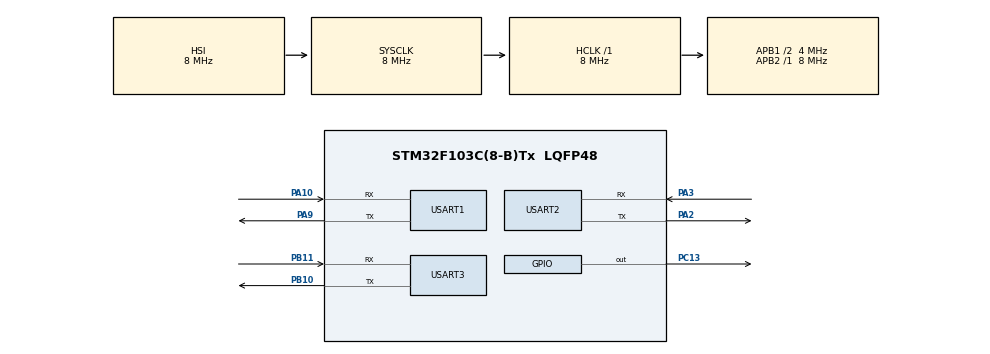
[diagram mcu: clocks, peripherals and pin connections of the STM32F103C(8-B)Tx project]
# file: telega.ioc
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Mcu.Family=STM32F1
Mcu.Name=STM32F103C(8-B)Tx
Mcu.Package=LQFP48
NVIC.PriorityGroup=NVIC_PRIORITYGROUP_4
NVIC.USART1_IRQn=true\:0\:0\:false\:false\:true\:true\:true
NVIC.USART2_IRQn=true\:0\:0\:false\:false\:true\:true\:true
NVIC.USART3_IRQn=true\:0\:0\:false\:false\:true\:true\:true
PA10.Mode=Asynchronous
PA10.Signal=USART1_RX
PA13.Mode=Serial_Wire
PA13.Signal=SYS_JTMS-SWDIO
PA14.Mode=Serial_Wire
PA14.Signal=SYS_JTCK-SWCLK
PA2.Mode=Asynchronous
PA2.Signal=USART2_TX
PA3.Mode=Asynchronous
PA3.Signal=USART2_RX
PA9.Mode=Asynchronous
PA9.Signal=USART1_TX
PB10.Mode=Asynchronous
PB10.Signal=USART3_TX
PB11.Mode=Asynchronous
PB11.Signal=USART3_RX
PC13-TAMPER-RTC.Signal=GPIO_Output
PD0-OSC_IN.Mode=HSE-External-Oscillator
PD0-OSC_IN.Signal=RCC_OSC_IN
PD1-OSC_OUT.Mode=HSE-External-Oscillator
PD1-OSC_OUT.Signal=RCC_OSC_OUT
ProjectManager.HeapSize=0x200
ProjectManager.StackSize=0x400
ProjectManager.TargetToolchain=MDK-ARM V5
RCC.AHBFreq_Value=8000000
RCC.APB1CLKDivider=RCC_HCLK_DIV2
RCC.APB1Freq_Value=4000000
RCC.APB1TimFreq_Value=8000000
RCC.APB2Freq_Value=8000000
RCC.APB2TimFreq_Value=8000000
RCC.HCLKFreq_Value=8000000
RCC.PLLMUL=RCC_PLL_MUL9
RCC.PLLSourceVirtual=RCC_PLLSOURCE_HSE
RCC.SYSCLKFreq_VALUE=8000000
RCC.USBFreq_Value=72000000
USART1.VirtualMode=VM_ASYNC
USART2.VirtualMode=VM_ASYNC
USART3.VirtualMode=VM_ASYNC
board=custom

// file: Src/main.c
/* USER CODE BEGIN Header */
/**
  ******************************************************************************
  * @file           : main.c
  * @brief          : Main program body
  ******************************************************************************
  * @attention
  *
  * <h2><center>&copy; Copyright (c) 2020 STMicroelectronics.
  * All rights reserved.</center></h2>
  *
  * This software component is licensed by ST under BSD 3-Clause license,
  * the "License"; You may not use this file except in compliance with the
  * License. You may obtain a copy of the License at:
  *                        opensource.org/licenses/BSD-3-Clause
  *
  ******************************************************************************
  */
/* USER CODE END Header */

#include "main.h"

/* USER CODE BEGIN Includes */

#include "cobs.h"
#include <string.h>

/* USER CODE END Includes */

UART_HandleTypeDef huart1;
UART_HandleTypeDef huart2;
UART_HandleTypeDef huart3;

void SystemClock_Config(void);
static void MX_GPIO_Init(void);
static void MX_USART1_UART_Init(void);
static void MX_USART2_UART_Init(void);
static void MX_USART3_UART_Init(void);

/* USER CODE BEGIN 0 */
#define BUF_SIZE_UPLEVEL	11								// 9 databyte + 2 byte overhead
#define BUF_SIZE_DRV			6
#define BUF_SIZE_DRV_SEND	7

uint8_t buf_uplevel[BUF_SIZE_UPLEVEL];			// uint8_t code + float (angle_speed + linear_speed)
uint8_t buf_drv1[BUF_SIZE_DRV];							// float speed
uint8_t buf_drv2[BUF_SIZE_DRV];							// float speed
uint8_t buf_drv_send_1[BUF_SIZE_DRV_SEND];					// uint8_t code + float speed
uint8_t buf_drv_send_2[BUF_SIZE_DRV_SEND];					// uint8_t code + float speed
int uart_uplevel_ready, uart_drv1_ready, uart_drv2_ready;
int uart_uplevel_send, uart_drv_send;

uint8_t send_to_uplevel[8];
uint8_t send_to_uplevel_encoded[10];

float	pos_drv1, pos_drv2;
uint32_t count_recieve = 0;
uint32_t count_send = 0;
float	speed_l=0.0f;
float	speed_a=0.0f;
float speed_drv1 =0.0f;
float speed_drv2 =0.0f;
/* USER CODE END 0 */

int main(void)
{

  /* MCU Configuration--------------------------------------------------------*/

  /* Reset of all peripherals, Initializes the Flash interface and the Systick. */
  HAL_Init();

  /* Configure the system clock */
  SystemClock_Config();

  /* Initialize all configured peripherals */
  MX_GPIO_Init();
  MX_USART1_UART_Init();
  MX_USART2_UART_Init();
  MX_USART3_UART_Init();
  /* USER CODE BEGIN 2 */
	USART1->CR1 |= USART_CR1_RXNEIE;
	USART2->CR1 |= USART_CR1_RXNEIE;
	USART3->CR1 |= USART_CR1_RXNEIE;
  /* USER CODE END 2 */

  /* Infinite loop */
  /* USER CODE BEGIN WHILE */
	uint8_t buf_uplevel_decoded[BUF_SIZE_UPLEVEL - 2];
	uint8_t buf_drv_decoded_1[BUF_SIZE_DRV - 2];
	uint8_t buf_drv_send_decoded_1[BUF_SIZE_DRV_SEND - 2];
	uint8_t buf_drv_decoded_2[BUF_SIZE_DRV - 2];
	uint8_t buf_drv_send_decoded_2[BUF_SIZE_DRV_SEND - 2];
	uint8_t code;

	int DEBUG = 0;
	if (DEBUG)
	{

	}

	speed_l = 0.0f;
  while (1)
 {
	  if (DEBUG)
	  {

	  }
		if (uart_uplevel_ready == 1)
		{
			uart_uplevel_ready = 0;
			cobs_decode(buf_uplevel, BUF_SIZE_UPLEVEL, buf_uplevel_decoded);

			code = buf_uplevel_decoded[0];
			memcpy(&speed_l, buf_uplevel_decoded + sizeof(uint8_t), sizeof(float));
			memcpy(&speed_a, buf_uplevel_decoded + sizeof(uint8_t) + sizeof(float), sizeof(float));
			speed_drv1 = speed_l + speed_a/2;		// TODO add math model
			speed_drv2 = -speed_l + speed_a/2 ;

			if (speed_drv1 > 1.0) speed_drv1 = 1.0;
			if (speed_drv1 < -1.0) speed_drv1 = -1.0;
			if (speed_drv2 > 1.0) speed_drv2 = 1.0;
			if (speed_drv2 < -1.0) speed_drv2 = -1.0;

			uart_drv_send = 1;

			if (DEBUG)
			{
				count_recieve ++;
			}
		}

		if (uart_drv1_ready == 1)
		{
			cobs_decode(buf_drv1, BUF_SIZE_DRV, buf_drv_decoded_1);
			memcpy(&pos_drv1, buf_drv_decoded_1, sizeof(float));

			// TODO add math model
			//cobs_encode(buf_drv_decoded_1, sizeof(float), buf_drv1);
			//HAL_UART_Transmit(&huart1, buf_drv1, BUF_SIZE_DRV, 0x0FFF);
		}

		if (uart_drv2_ready == 1)
		{
			cobs_decode(buf_drv2, BUF_SIZE_DRV, buf_drv_decoded_2);
			memcpy(&pos_drv2, buf_drv_decoded_2, sizeof(float));
			pos_drv2 = -pos_drv2;

			//HAL_UART_Transmit(&huart1, buf_drv2, BUF_SIZE_DRV, 0x0FFF);
		}

		if (uart_drv2_ready && uart_drv2_ready) {

			memcpy(send_to_uplevel, &pos_drv1, 4);
			memcpy(send_to_uplevel+4, &pos_drv2, 4);
			cobs_encode(send_to_uplevel, 8, send_to_uplevel_encoded);
			send_to_uplevel[8] = 0;

			HAL_UART_Transmit_IT(&huart1, send_to_uplevel_encoded, 10);
			uart_drv1_ready = 0;
			uart_drv2_ready = 0;
		}

		if (uart_drv_send)
		{
			uart_drv_send = 0;

			buf_drv_send_decoded_1[0] = 'v';
			memcpy(buf_drv_send_decoded_1 + 1, &speed_drv1, sizeof(float));
			cobs_encode(buf_drv_send_decoded_1, BUF_SIZE_DRV_SEND - 2, buf_drv_send_1);
			//HAL_UART_Transmit(&huart2, buf_drv_send, BUF_SIZE_DRV_SEND, 0x0FFF);
			HAL_UART_Transmit_IT(&huart2, buf_drv_send_1, BUF_SIZE_DRV_SEND);

			buf_drv_send_decoded_2[0] = 'v';
			memcpy(buf_drv_send_decoded_2 + 1, &speed_drv2, sizeof(float));
			cobs_encode(buf_drv_send_decoded_2, BUF_SIZE_DRV_SEND - 2, buf_drv_send_2);
			//HAL_UART_Transmit(&huart3, buf_drv_send, BUF_SIZE_DRV_SEND, 0x0FFF);
			HAL_UART_Transmit_IT(&huart3, buf_drv_send_2, BUF_SIZE_DRV_SEND);
			count_send ++;
		}
    /* USER CODE END WHILE */

  }
}

void SystemClock_Config(void)
{
  RCC_OscInitTypeDef RCC_OscInitStruct = {0};
  RCC_ClkInitTypeDef RCC_ClkInitStruct = {0};

  /** Initializes the CPU, AHB and APB busses clocks
  */
  RCC_OscInitStruct.OscillatorType = RCC_OSCILLATORTYPE_HSI;
  RCC_OscInitStruct.HSIState = RCC_HSI_ON;
  RCC_OscInitStruct.HSICalibrationValue = RCC_HSICALIBRATION_DEFAULT;
  RCC_OscInitStruct.PLL.PLLState = RCC_PLL_NONE;
  if (HAL_RCC_OscConfig(&RCC_OscInitStruct) != HAL_OK)
  {
    Error_Handler();
  }
  /** Initializes the CPU, AHB and APB busses clocks
  */
  RCC_ClkInitStruct.ClockType = RCC_CLOCKTYPE_HCLK|RCC_CLOCKTYPE_SYSCLK
                              |RCC_CLOCKTYPE_PCLK1|RCC_CLOCKTYPE_PCLK2;
  RCC_ClkInitStruct.SYSCLKSource = RCC_SYSCLKSOURCE_HSI;
  RCC_ClkInitStruct.AHBCLKDivider = RCC_SYSCLK_DIV1;
  RCC_ClkInitStruct.APB1CLKDivider = RCC_HCLK_DIV2;
  RCC_ClkInitStruct.APB2CLKDivider = RCC_HCLK_DIV1;

  if (HAL_RCC_ClockConfig(&RCC_ClkInitStruct, FLASH_LATENCY_0) != HAL_OK)
  {
    Error_Handler();
  }
}

static void MX_USART1_UART_Init(void)
{

  huart1.Instance = USART1;
  huart1.Init.BaudRate = 115200;
  huart1.Init.WordLength = UART_WORDLENGTH_8B;
  huart1.Init.StopBits = UART_STOPBITS_1;
  huart1.Init.Parity = UART_PARITY_NONE;
  huart1.Init.Mode = UART_MODE_TX_RX;
  huart1.Init.HwFlowCtl = UART_HWCONTROL_NONE;
  huart1.Init.OverSampling = UART_OVERSAMPLING_16;
  if (HAL_UART_Init(&huart1) != HAL_OK)
  {
    Error_Handler();
  }

}

static void MX_USART2_UART_Init(void)
{

  huart2.Instance = USART2;
  huart2.Init.BaudRate = 115200;
  huart2.Init.WordLength = UART_WORDLENGTH_8B;
  huart2.Init.StopBits = UART_STOPBITS_1;
  huart2.Init.Parity = UART_PARITY_NONE;
  huart2.Init.Mode = UART_MODE_TX_RX;
  huart2.Init.HwFlowCtl = UART_HWCONTROL_NONE;
  huart2.Init.OverSampling = UART_OVERSAMPLING_16;
  if (HAL_UART_Init(&huart2) != HAL_OK)
  {
    Error_Handler();
  }

}

static void MX_USART3_UART_Init(void)
{

  huart3.Instance = USART3;
  huart3.Init.BaudRate = 115200;
  huart3.Init.WordLength = UART_WORDLENGTH_8B;
  huart3.Init.StopBits = UART_STOPBITS_1;
  huart3.Init.Parity = UART_PARITY_NONE;
  huart3.Init.Mode = UART_MODE_TX_RX;
  huart3.Init.HwFlowCtl = UART_HWCONTROL_NONE;
  huart3.Init.OverSampling = UART_OVERSAMPLING_16;
  if (HAL_UART_Init(&huart3) != HAL_OK)
  {
    Error_Handler();
  }

}

static void MX_GPIO_Init(void)
{
  GPIO_InitTypeDef GPIO_InitStruct = {0};

  /* GPIO Ports Clock Enable */
  __HAL_RCC_GPIOC_CLK_ENABLE();
  __HAL_RCC_GPIOD_CLK_ENABLE();
  __HAL_RCC_GPIOA_CLK_ENABLE();
  __HAL_RCC_GPIOB_CLK_ENABLE();

  /*Configure GPIO pin Output Level */
  HAL_GPIO_WritePin(GPIOC, GPIO_PIN_13, GPIO_PIN_RESET);

  /*Configure GPIO pin : PC13 */
  GPIO_InitStruct.Pin = GPIO_PIN_13;
  GPIO_InitStruct.Mode = GPIO_MODE_OUTPUT_PP;
  GPIO_InitStruct.Pull = GPIO_NOPULL;
  GPIO_InitStruct.Speed = GPIO_SPEED_FREQ_LOW;
  HAL_GPIO_Init(GPIOC, &GPIO_InitStruct);

}

void Error_Handler(void)
{
}

/************************ (C) COPYRIGHT STMicroelectronics *****END OF FILE****/
